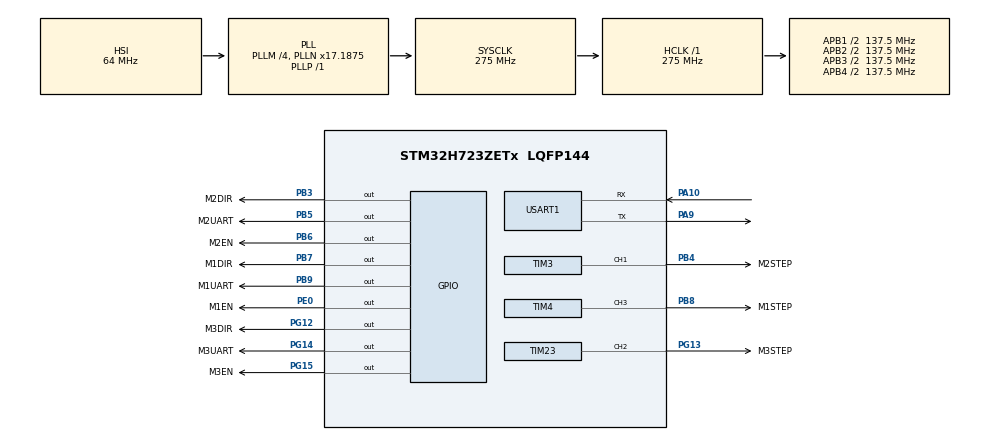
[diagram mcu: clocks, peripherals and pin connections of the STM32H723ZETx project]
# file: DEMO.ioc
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CORTEX_M7.default_mode_Activation=1
Mcu.Family=STM32H7
Mcu.Name=STM32H723ZETx
Mcu.Package=LQFP144
NVIC.PriorityGroup=NVIC_PRIORITYGROUP_4
NVIC.TIM1_UP_IRQn=true\:15\:0\:false\:false\:true\:false\:true\:true
NVIC.TIM23_IRQn=true\:0\:0\:false\:false\:true\:true\:true\:true
NVIC.TIM3_IRQn=true\:0\:0\:false\:false\:true\:true\:true\:true
NVIC.TIM4_IRQn=true\:0\:0\:false\:false\:true\:true\:true\:true
NVIC.TimeBase=TIM1_UP_IRQn
NVIC.TimeBaseIP=TIM1
PA10.Mode=Asynchronous
PA10.Signal=USART1_RX
PA9.Mode=Asynchronous
PA9.Signal=USART1_TX
PB3(JTDO/TRACESWO).GPIO_Label=M2DIR
PB3(JTDO/TRACESWO).Signal=GPIO_Output
PB4(NJTRST).GPIO_Label=M2STEP
PB4(NJTRST).Signal=S_TIM3_CH1
PB5.GPIO_Label=M2UART
PB5.Signal=GPIO_Output
PB6.GPIO_Label=M2EN
PB6.Signal=GPIO_Output
PB7.GPIO_Label=M1DIR
PB7.Signal=GPIO_Output
PB8.GPIO_Label=M1STEP
PB8.Signal=S_TIM4_CH3
PB9.GPIO_Label=M1UART
PB9.Signal=GPIO_Output
PE0.GPIO_Label=M1EN
PE0.Signal=GPIO_Output
PG12.GPIO_Label=M3DIR
PG12.Signal=GPIO_Output
PG13.GPIO_Label=M3STEP
PG13.Signal=S_TIM23_CH2
PG14.GPIO_Label=M3UART
PG14.Signal=GPIO_Output
PG15.GPIO_Label=M3EN
PG15.Signal=GPIO_Output
PH0-OSC_IN.Mode=HSE-External-Oscillator
PH0-OSC_IN.Signal=RCC_OSC_IN
PH1-OSC_OUT.Mode=HSE-External-Oscillator
PH1-OSC_OUT.Signal=RCC_OSC_OUT
ProjectManager.HeapSize=0x200
ProjectManager.StackSize=0x1000
ProjectManager.TargetToolchain=CMake
RCC.ADCFreq_Value=129000000
RCC.APB1Freq_Value=137500000
RCC.APB2Freq_Value=137500000
RCC.APB3Freq_Value=137500000
RCC.APB4Freq_Value=137500000
RCC.CortexFreq_Value=275000000
RCC.D1PPRE=RCC_APB3_DIV2
RCC.D2PPRE1=RCC_APB1_DIV2
RCC.D2PPRE2=RCC_APB2_DIV2
RCC.D3PPRE=RCC_APB4_DIV2
RCC.DIVM1=4
RCC.DIVN1=17
RCC.DIVP1=1
RCC.HCLKFreq_Value=275000000
RCC.PLL2FRACN=0
RCC.PLL3FRACN=0
RCC.PLLFRACN=1536
RCC.SYSCLKFreq_VALUE=275000000
RCC.SYSCLKSource=RCC_SYSCLKSOURCE_PLLCLK
RCC.USBFreq_Value=137500000
SH.S_TIM23_CH2.0=TIM23_CH2,PWM Generation2 CH2
SH.S_TIM3_CH1.0=TIM3_CH1,PWM Generation1 CH1
SH.S_TIM4_CH3.0=TIM4_CH3,PWM Generation3 CH3
TIM23.AutoReloadPreload=TIM_AUTORELOAD_PRELOAD_ENABLE
TIM23.Channel-PWM\ Generation2\ CH2=TIM_CHANNEL_2
TIM23.Period=65535
TIM23.Prescaler=4
TIM3.AutoReloadPreload=TIM_AUTORELOAD_PRELOAD_ENABLE
TIM3.Channel-PWM\ Generation1\ CH1=TIM_CHANNEL_1
TIM3.Prescaler=4
TIM4.AutoReloadPreload=TIM_AUTORELOAD_PRELOAD_ENABLE
TIM4.Channel-PWM\ Generation3\ CH3=TIM_CHANNEL_3
TIM4.Prescaler=4
USART1.VirtualMode-Asynchronous=VM_ASYNC
VP_MEMORYMAP_VS_MEMORYMAP.Mode=CurAppReg
VP_SYS_VS_tim1.Mode=TIM1
board=custom

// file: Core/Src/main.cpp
/* USER CODE BEGIN Header */
/**
  ******************************************************************************
  * @file           : main.c
  * @brief          : Main program body
  ******************************************************************************
  * @attention
  *
  * Copyright (c) 2025 STMicroelectronics.
  * All rights reserved.
  *
  * This software is licensed under terms that can be found in the LICENSE file
  * in the root directory of this software component.
  * If no LICENSE file comes with this software, it is provided AS-IS.
  *
  ******************************************************************************
  */
/* USER CODE END Header */
#include "main.h"
#include "memorymap.h"
#include "tim.h"
#include "usart.h"
#include "gpio.h"

/* USER CODE BEGIN Includes */
#include "gpio_bitbang_uart.hpp"
#include "TMC2209.hpp"
/* USER CODE END Includes */

void SystemClock_Config(void);
static void MPU_Config(void);

int main(void)
{

  /* MPU Configuration--------------------------------------------------------*/
  MPU_Config();

  /* MCU Configuration--------------------------------------------------------*/

  /* Reset of all peripherals, Initializes the Flash interface and the Systick. */
  HAL_Init();

  /* Configure the system clock */
  SystemClock_Config();

  /* Initialize all configured peripherals */
  MX_GPIO_Init();
  MX_TIM3_Init();
  MX_TIM4_Init();
  MX_TIM23_Init();
  MX_USART1_UART_Init();
  /* USER CODE BEGIN 2 */
  BitBangUART::dwt_delay_init();
  BitBangUART::GPIO_BitBangUART debug_uart(GPIOA, GPIO_PIN_9, 115200);
  TMC2209::initializeMotors();
  /* USER CODE END 2 */

  /* Infinite loop */
  /* USER CODE BEGIN WHILE */
  while (1)
  {
//    TMC2209::motors[0]->step(100000); // Global motor array
//    TMC2209::motors[1]->step(100000);
//    TMC2209::motors[2]->step(100000);
//    TMC2209::motors[0]->step(100000,GPIO_PIN_RESET); // Global motor array
//    TMC2209::motors[1]->step(100000,GPIO_PIN_RESET);
//    TMC2209::motors[2]->step(100000,GPIO_PIN_RESET);
//    TMC2209::motors[2]->step(100);
//    HAL_GPIO_WritePin(M2STEP_GPIO_Port, M2STEP_Pin, GPIO_PIN_SET);
//    HAL_Delay(1000);
//    HAL_GPIO_WritePin(M2STEP_GPIO_Port, M2STEP_Pin, GPIO_PIN_RESET);
//    HAL_Delay(1000);

    uint8_t res=0;
    debug_uart.receiveByte(&res,1000);
    switch (res) {
      case '1':TMC2209::motors[0]->stepml(10);break;
      case '2':TMC2209::motors[0]->stepml(20);break;
      case '3':TMC2209::motors[0]->stepml(100);break;
      default:
        break;
    }
    uint8_t str[] = "ok\n";
    debug_uart.sendBytes(str,3);
    /* USER CODE END WHILE */

  }
}

void SystemClock_Config(void)
{
  RCC_OscInitTypeDef RCC_OscInitStruct = {0};
  RCC_ClkInitTypeDef RCC_ClkInitStruct = {0};

  /** Supply configuration update enable
  */
  HAL_PWREx_ConfigSupply(PWR_LDO_SUPPLY);

  /** Configure the main internal regulator output voltage
  */
  __HAL_PWR_VOLTAGESCALING_CONFIG(PWR_REGULATOR_VOLTAGE_SCALE0);

  while(!__HAL_PWR_GET_FLAG(PWR_FLAG_VOSRDY)) {}

  /** Initializes the RCC Oscillators according to the specified parameters
  * in the RCC_OscInitTypeDef structure.
  */
  RCC_OscInitStruct.OscillatorType = RCC_OSCILLATORTYPE_HSI;
  RCC_OscInitStruct.HSIState = RCC_HSI_DIV1;
  RCC_OscInitStruct.HSICalibrationValue = 64;
  RCC_OscInitStruct.PLL.PLLState = RCC_PLL_ON;
  RCC_OscInitStruct.PLL.PLLSource = RCC_PLLSOURCE_HSI;
  RCC_OscInitStruct.PLL.PLLM = 4;
  RCC_OscInitStruct.PLL.PLLN = 17;
  RCC_OscInitStruct.PLL.PLLP = 1;
  RCC_OscInitStruct.PLL.PLLQ = 2;
  RCC_OscInitStruct.PLL.PLLR = 2;
  RCC_OscInitStruct.PLL.PLLRGE = RCC_PLL1VCIRANGE_3;
  RCC_OscInitStruct.PLL.PLLVCOSEL = RCC_PLL1VCOWIDE;
  RCC_OscInitStruct.PLL.PLLFRACN = 1536;
  if (HAL_RCC_OscConfig(&RCC_OscInitStruct) != HAL_OK)
  {
    Error_Handler();
  }

  /** Initializes the CPU, AHB and APB buses clocks
  */
  RCC_ClkInitStruct.ClockType = RCC_CLOCKTYPE_HCLK|RCC_CLOCKTYPE_SYSCLK
                              |RCC_CLOCKTYPE_PCLK1|RCC_CLOCKTYPE_PCLK2
                              |RCC_CLOCKTYPE_D3PCLK1|RCC_CLOCKTYPE_D1PCLK1;
  RCC_ClkInitStruct.SYSCLKSource = RCC_SYSCLKSOURCE_PLLCLK;
  RCC_ClkInitStruct.SYSCLKDivider = RCC_SYSCLK_DIV1;
  RCC_ClkInitStruct.AHBCLKDivider = RCC_HCLK_DIV1;
  RCC_ClkInitStruct.APB3CLKDivider = RCC_APB3_DIV2;
  RCC_ClkInitStruct.APB1CLKDivider = RCC_APB1_DIV2;
  RCC_ClkInitStruct.APB2CLKDivider = RCC_APB2_DIV2;
  RCC_ClkInitStruct.APB4CLKDivider = RCC_APB4_DIV2;

  if (HAL_RCC_ClockConfig(&RCC_ClkInitStruct, FLASH_LATENCY_3) != HAL_OK)
  {
    Error_Handler();
  }
}

 /* MPU Configuration */

void MPU_Config(void)
{
  MPU_Region_InitTypeDef MPU_InitStruct = {0};

  /* Disables the MPU */
  HAL_MPU_Disable();

  /** Initializes and configures the Region and the memory to be protected
  */
  MPU_InitStruct.Enable = MPU_REGION_ENABLE;
  MPU_InitStruct.Number = MPU_REGION_NUMBER0;
  MPU_InitStruct.BaseAddress = 0x0;
  MPU_InitStruct.Size = MPU_REGION_SIZE_4GB;
  MPU_InitStruct.SubRegionDisable = 0x87;
  MPU_InitStruct.TypeExtField = MPU_TEX_LEVEL0;
  MPU_InitStruct.AccessPermission = MPU_REGION_NO_ACCESS;
  MPU_InitStruct.DisableExec = MPU_INSTRUCTION_ACCESS_DISABLE;
  MPU_InitStruct.IsShareable = MPU_ACCESS_SHAREABLE;
  MPU_InitStruct.IsCacheable = MPU_ACCESS_NOT_CACHEABLE;
  MPU_InitStruct.IsBufferable = MPU_ACCESS_NOT_BUFFERABLE;

  HAL_MPU_ConfigRegion(&MPU_InitStruct);
  /* Enables the MPU */
  HAL_MPU_Enable(MPU_PRIVILEGED_DEFAULT);

}

void HAL_TIM_PeriodElapsedCallback(TIM_HandleTypeDef *htim)
{
  if (htim->Instance == TIM1) {
    HAL_IncTick();
  }
}

void Error_Handler(void)
{
  __disable_irq();
  while (1)
  {
  }
}
